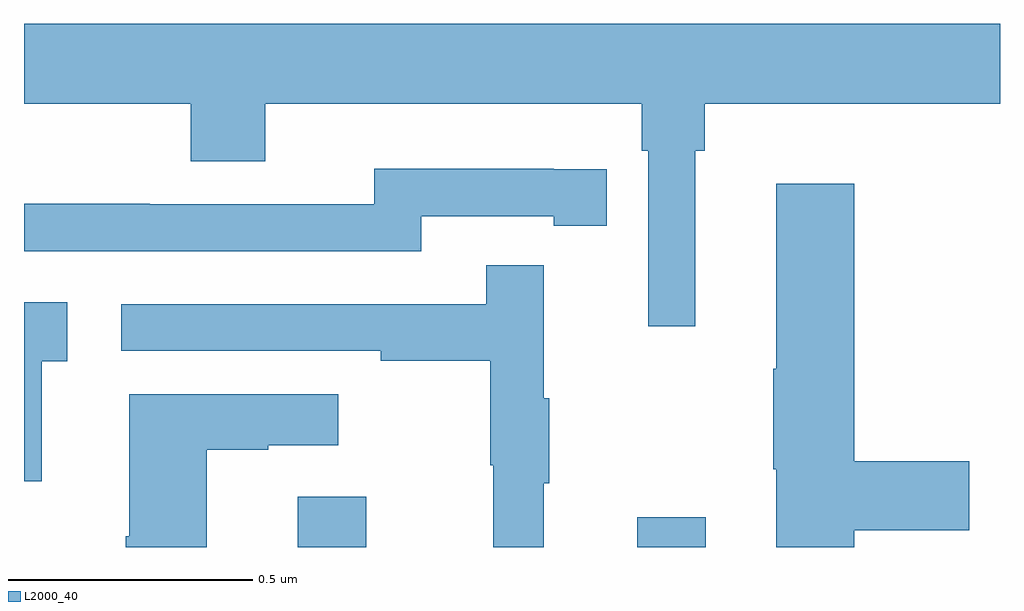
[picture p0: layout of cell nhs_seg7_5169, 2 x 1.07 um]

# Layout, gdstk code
import gdstk
lib = gdstk.Library(unit=1e-6, precision=1e-09)
def R(c, l, rs):  # rectangles x0, y0, x1, y1
    for r in rs: c.add(gdstk.rectangle(r[:2], r[2:], *l))
def P(c, l, *ps):  # polygons
    for p in ps: c.add(gdstk.Polygon(p, *l))
L2000_40 = (2000, 40)

nhs_seg7_5169 = lib.new_cell('nhs_seg7_5169')
R(nhs_seg7_5169, L2000_40, [(182.561,1041,182.701,1041.103), (183.257,1041,183.397,1041.061)])
P(nhs_seg7_5169, L2000_40, [(183.376,1041.812),(183.395,1041.812),(183.395,1041.908),(184,1041.908),(184,1042.072),(182,1042.072),(182,1041.908),(182.342,1041.908),(182.342,1041.791),(182.494,1041.791),(182.494,1041.908),(183.266,1041.908),(183.266,1041.812),(183.279,1041.812),(183.279,1041.453),(183.376,1041.453)],
  [(182.814,1041.678),(183.086,1041.678),(183.086,1041.658),(183.194,1041.658),(183.194,1041.774),(183.086,1041.774),(183.086,1041.775),(182.718,1041.775),(182.718,1041.702),(182.258,1041.702),(182.258,1041.704),(182,1041.704),(182,1041.606),(182.814,1041.606)],
  [(183.701,1041.034),(183.937,1041.034),(183.937,1041.176),(183.701,1041.176),(183.701,1041.745),(183.542,1041.745),(183.542,1041.365),(183.535,1041.365),(183.535,1041.159),(183.542,1041.159),(183.542,1041),(183.701,1041)],
  [(183.065,1041.131),(183.076,1041.131),(183.076,1041.305),(183.065,1041.305),(183.065,1041.577),(182.947,1041.577),(182.947,1041.498),(182.199,1041.498),(182.199,1041.402),(182.731,1041.402),(182.731,1041.382),(182.955,1041.382),(182.955,1041.168),(182.962,1041.168),(182.962,1041),(183.065,1041)],
  [(182.036,1041.381),(182.089,1041.381),(182.089,1041.502),(182,1041.502),(182,1041.135),(182.036,1041.135)],
  [(182.374,1041.199),(182.501,1041.199),(182.501,1041.209),(182.644,1041.209),(182.644,1041.313),(182.216,1041.313),(182.216,1041.022),(182.209,1041.022),(182.209,1041),(182.374,1041)])

lib.write_gds('nhs_seg7_5169.gds')
